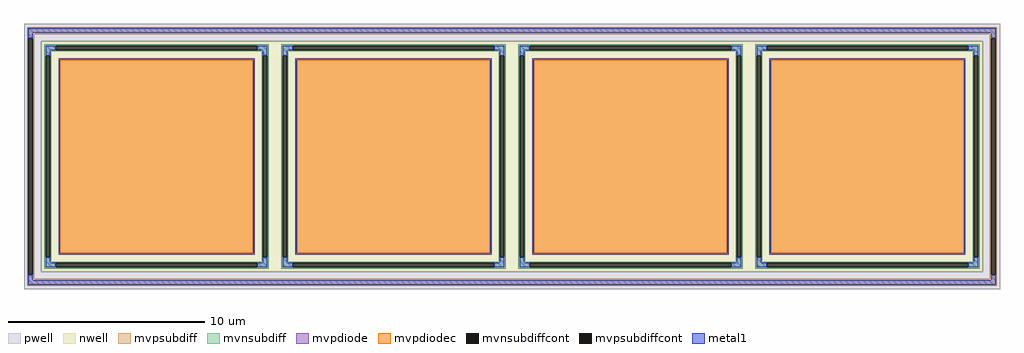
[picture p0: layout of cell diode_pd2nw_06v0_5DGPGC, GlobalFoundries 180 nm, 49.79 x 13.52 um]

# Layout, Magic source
magic
tech gf180mcuD
magscale 1 10
<< nwell >>
rect -4803 -1176 4803 1176
<< pwell >>
rect -4979 1176 4979 1352
rect -4979 -1176 -4803 1176
rect 4803 -1176 4979 1176
rect -4979 -1352 4979 -1176
<< mvpsubdiff >>
rect -4947 1248 4947 1320
rect -4947 1204 -4875 1248
rect -4947 -1204 -4934 1204
rect -4888 -1204 -4875 1204
rect 4875 1204 4947 1248
rect -4947 -1248 -4875 -1204
rect 4875 -1204 4888 1204
rect 4934 -1204 4947 1204
rect 4875 -1248 4947 -1204
rect -4947 -1320 4947 -1248
<< mvnsubdiff >>
rect -4771 1131 -2483 1144
rect -4771 1085 -4655 1131
rect -2599 1085 -2483 1131
rect -4771 1072 -2483 1085
rect -4771 1028 -4699 1072
rect -4771 -1028 -4758 1028
rect -4712 -1028 -4699 1028
rect -2555 1028 -2483 1072
rect -4771 -1072 -4699 -1028
rect -2555 -1028 -2542 1028
rect -2496 -1028 -2483 1028
rect -2555 -1072 -2483 -1028
rect -4771 -1085 -2483 -1072
rect -4771 -1131 -4655 -1085
rect -2599 -1131 -2483 -1085
rect -4771 -1144 -2483 -1131
rect -2353 1131 -65 1144
rect -2353 1085 -2237 1131
rect -181 1085 -65 1131
rect -2353 1072 -65 1085
rect -2353 1028 -2281 1072
rect -2353 -1028 -2340 1028
rect -2294 -1028 -2281 1028
rect -137 1028 -65 1072
rect -2353 -1072 -2281 -1028
rect -137 -1028 -124 1028
rect -78 -1028 -65 1028
rect -137 -1072 -65 -1028
rect -2353 -1085 -65 -1072
rect -2353 -1131 -2237 -1085
rect -181 -1131 -65 -1085
rect -2353 -1144 -65 -1131
rect 65 1131 2353 1144
rect 65 1085 181 1131
rect 2237 1085 2353 1131
rect 65 1072 2353 1085
rect 65 1028 137 1072
rect 65 -1028 78 1028
rect 124 -1028 137 1028
rect 2281 1028 2353 1072
rect 65 -1072 137 -1028
rect 2281 -1028 2294 1028
rect 2340 -1028 2353 1028
rect 2281 -1072 2353 -1028
rect 65 -1085 2353 -1072
rect 65 -1131 181 -1085
rect 2237 -1131 2353 -1085
rect 65 -1144 2353 -1131
rect 2483 1131 4771 1144
rect 2483 1085 2599 1131
rect 4655 1085 4771 1131
rect 2483 1072 4771 1085
rect 2483 1028 2555 1072
rect 2483 -1028 2496 1028
rect 2542 -1028 2555 1028
rect 4699 1028 4771 1072
rect 2483 -1072 2555 -1028
rect 4699 -1028 4712 1028
rect 4758 -1028 4771 1028
rect 4699 -1072 4771 -1028
rect 2483 -1085 4771 -1072
rect 2483 -1131 2599 -1085
rect 4655 -1131 4771 -1085
rect 2483 -1144 4771 -1131
<< mvpsubdiffcont >>
rect -4934 -1204 -4888 1204
rect 4888 -1204 4934 1204
<< mvnsubdiffcont >>
rect -4655 1085 -2599 1131
rect -4758 -1028 -4712 1028
rect -2542 -1028 -2496 1028
rect -4655 -1131 -2599 -1085
rect -2237 1085 -181 1131
rect -2340 -1028 -2294 1028
rect -124 -1028 -78 1028
rect -2237 -1131 -181 -1085
rect 181 1085 2237 1131
rect 78 -1028 124 1028
rect 2294 -1028 2340 1028
rect 181 -1131 2237 -1085
rect 2599 1085 4655 1131
rect 2496 -1028 2542 1028
rect 4712 -1028 4758 1028
rect 2599 -1131 4655 -1085
<< mvpdiode >>
rect -4627 987 -2627 1000
rect -4627 -987 -4614 987
rect -2640 -987 -2627 987
rect -4627 -1000 -2627 -987
rect -2209 987 -209 1000
rect -2209 -987 -2196 987
rect -222 -987 -209 987
rect -2209 -1000 -209 -987
rect 209 987 2209 1000
rect 209 -987 222 987
rect 2196 -987 2209 987
rect 209 -1000 2209 -987
rect 2627 987 4627 1000
rect 2627 -987 2640 987
rect 4614 -987 4627 987
rect 2627 -1000 4627 -987
<< mvpdiodec >>
rect -4614 -987 -2640 987
rect -2196 -987 -222 987
rect 222 -987 2196 987
rect 2640 -987 4614 987
<< metal1 >>
rect -4934 1261 4934 1307
rect -4934 1204 -4888 1261
rect 4888 1204 4934 1261
rect -4758 1085 -4655 1131
rect -2599 1085 -2496 1131
rect -4758 1028 -4712 1085
rect -2542 1028 -2496 1085
rect -4625 -987 -4614 987
rect -2640 -987 -2629 987
rect -4758 -1085 -4712 -1028
rect -2542 -1085 -2496 -1028
rect -4758 -1131 -4655 -1085
rect -2599 -1131 -2496 -1085
rect -2340 1085 -2237 1131
rect -181 1085 -78 1131
rect -2340 1028 -2294 1085
rect -124 1028 -78 1085
rect -2207 -987 -2196 987
rect -222 -987 -211 987
rect -2340 -1085 -2294 -1028
rect -124 -1085 -78 -1028
rect -2340 -1131 -2237 -1085
rect -181 -1131 -78 -1085
rect 78 1085 181 1131
rect 2237 1085 2340 1131
rect 78 1028 124 1085
rect 2294 1028 2340 1085
rect 211 -987 222 987
rect 2196 -987 2207 987
rect 78 -1085 124 -1028
rect 2294 -1085 2340 -1028
rect 78 -1131 181 -1085
rect 2237 -1131 2340 -1085
rect 2496 1085 2599 1131
rect 4655 1085 4758 1131
rect 2496 1028 2542 1085
rect 4712 1028 4758 1085
rect 2629 -987 2640 987
rect 4614 -987 4625 987
rect 2496 -1085 2542 -1028
rect 4712 -1085 4758 -1028
rect 2496 -1131 2599 -1085
rect 4655 -1131 4758 -1085
rect -4934 -1261 -4888 -1204
rect 4888 -1261 4934 -1204
rect -4934 -1307 4934 -1261
<< properties >>
string diode_pd2nw_06v0_5DGPGC parameters
string FIXED_BBOX 2519 -1108 4735 1108
string gencell diode_pd2nw_06v0
string library gf180mcu
string parameters w 10 l 10 area 100.0 peri 40.0 nx 4 ny 1 dummy 0 lmin 0.45 wmin 0.45 class diode elc 1 erc 1 etc 1 ebc 1 glc 1 grc 1 gtc 0 gbc 0 doverlap 0 full_metal 1 compatible {diode_pd2nw_03v3 diode_pd2nw_06v0}
<< end >>
